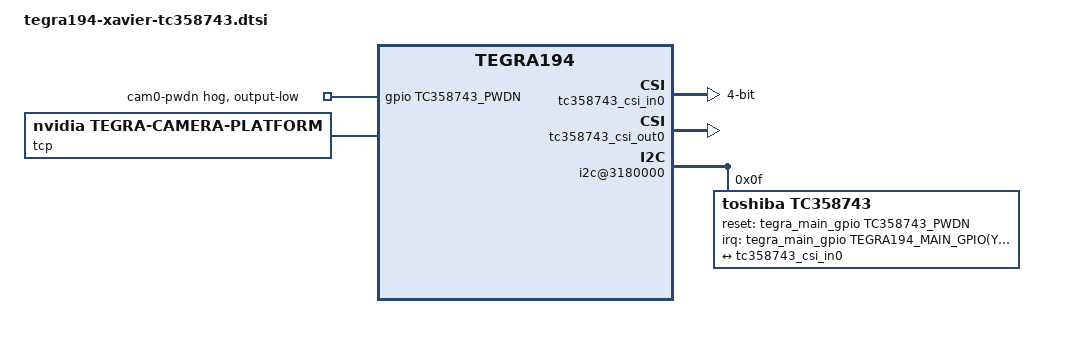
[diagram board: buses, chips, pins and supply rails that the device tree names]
#include <dt-bindings/media/camera.h>
#include <dt-bindings/gpio/tegra194-gpio.h>
#include <dt-bindings/clock/tegra194-clock.h>

#define TC358743_PWDN	    TEGRA194_MAIN_GPIO(P, 4)


/{
    host1x {
        gpio: gpio@2200000 {
            #gpio-cells = <2>;
            camera-control-output-low {
                gpio-hog;
                output-low;
                gpios = < TC358743_PWDN 0 >;
                label = "cam0-pwdn";
            };
        };

        vi@15c10000  {
            num-channels = <1>;
            ports {
                #address-cells = <1>;
                #size-cells = <0>;
                tc358743_vi_port0: port@0 {
                    status = "okay";
                    reg = <0>;
                    tc358743_vi_in0: endpoint {
                        status = "okay";
                        port-index = <4>;
                        bus-width = <4>; /* Use CSI-EF*/
                        remote-endpoint = <&tc358743_csi_out0>;
                    };
                };
            };
        };


	    nvcsi@15a00000 {
			num-channels = <1>;
            #address-cells = <1>;
            #size-cells = <0>;
			channel@0 {
				    reg = <0>;
                	status = "okay";
					ports {
						#address-cells = <1>;
						#size-cells = <0>;
						port@0 {
                        	status = "okay";
							reg = <0>;
							tc358743_csi_in0: endpoint@0 {
								status = "okay";
                            	port-index = <4>;
								bus-width = <4>;
								remote-endpoint = <&tc358743_out0>;
							};
						};
						port@1 {
                        	status = "okay";
							reg = <1>;
							tc358743_csi_out0: endpoint@1 {
							status = "okay";
                            remote-endpoint = <&tc358743_vi_in0>;
						};
					};
				};
			};
        };
    };


   i2c@3180000 {  /* I2C_0, "adapter" 0 */
        status = "okay";
        #address-cells = <1>;
        #size-cells = <0>;
        
        tc358743@0f {
            status = "okay";
            compatible = "toshiba,tc358743";
            reg = <0x0f>; /* (normal = address not shifted) */
            devnode ="video0";
            reset-gpios = <&tegra_main_gpio TC358743_PWDN GPIO_ACTIVE_HIGH>;
            refclk_hz = <27000000>;  // refclk_hz -> regclk
	        //interrupt-parent = <&gpio>;
	        interrupt-parent = <&tegra_main_gpio>;
            interrupts = <TEGRA194_MAIN_GPIO(Y, 4) IRQ_TYPE_EDGE_RISING>;
            /* Physical dimensions of sensor */
            physical_w = "4.713";
            physical_h = "3.494";
            /* Sensor Model */
            sensor_model ="tc358743";
			num_lanes = "4";
			tegra_sinterface = "serial_e";
			phy_mode = "DPHY";
			discontinuous_clk = "no";
            // use_sensor_mode_id = "true";

            ddc5v_delay = <2>;
            enable_hdcp = "false";
            lineinitcnt = <0xe80>;
            lptxtimecnt = <0x003>;
            tclk_headercnt = <0x1403>;
            tclk_trailcnt = <0x00>;
            ths_headercnt = <0x0103>;
            twakeup = <0x4882>;
            tclk_postcnt = <0x008>;
            ths_trailcnt = <0x02>;
            hstxvregcnt = <0>;
 
            ports {
                status = "okay";
                #address-cells = <1>;
                #size-cells = <0>;
                
                port@0 {
                    status = "okay";
                    reg = <0>;
                    tc358743_out0: endpoint {
                        port-index = <4>; /* CSI E F */
                        bus-width = <4>; /* Use CSI-E F */
						phy_mode = "DPHY";
						data-lanes = <1 2 3 4>;
						clock-lanes = <4>;
						//clock-noncontinuous;
						link-frequencies = /bits/ 64 <297000000>;//297000000///594000000
                        remote-endpoint = <&tc358743_csi_in0>;
                    };
                };
            };
        };
    };

    tcp: tegra-camera-platform {
	    status = "okay";
		compatible = "nvidia,tegra-camera-platform";
		num_csi_lanes = <4>;
		max_lane_speed = <1500000>;
		min_bits_per_pixel = <16>;
		vi_peak_byte_per_pixel = <2>;
		vi_bw_margin_pct = <25>;
		max_pixel_rate = <430000>;  //408000  this is related to the capped VI's max BW  max_pixel_rate / 0.4 = capped VI BW  
		isp_peak_byte_per_pixel = <2>;
		isp_bw_margin_pct = <25>;

	    /**
		* The general guideline for naming badge_info contains 3 parts, and is as follows,
		* The first part is the camera_board_id for the module; if the module is in a FFD
		* platform, then use the platform name for this part.
		* The second part contains the position of the module, ex. “rear” or “front”.
		* The third part contains the last 6 characters of a part number which is found
		* in the module's specsheet from the vender.
		*/
		modules {
            module0 {
                status = "okay";
                badge = "tc358743_front";
                position = "top";
                orientation = "0";
                drivernode0 {
                    status = "okay";
                    /* Declare PCL support driver (classically known as guid)  */
                    pcl_id = "v4l2_sensor";
                    /* Driver's v4l2 device name */
                    devname = "tc358743 0-000f";
                    /* Declare the device-tree hierarchy to driver instance */
                    proc-device-tree = "/proc/device-tree/i2c@3180000/tc358743@0f";
                };
                
            };
		};
	};
};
